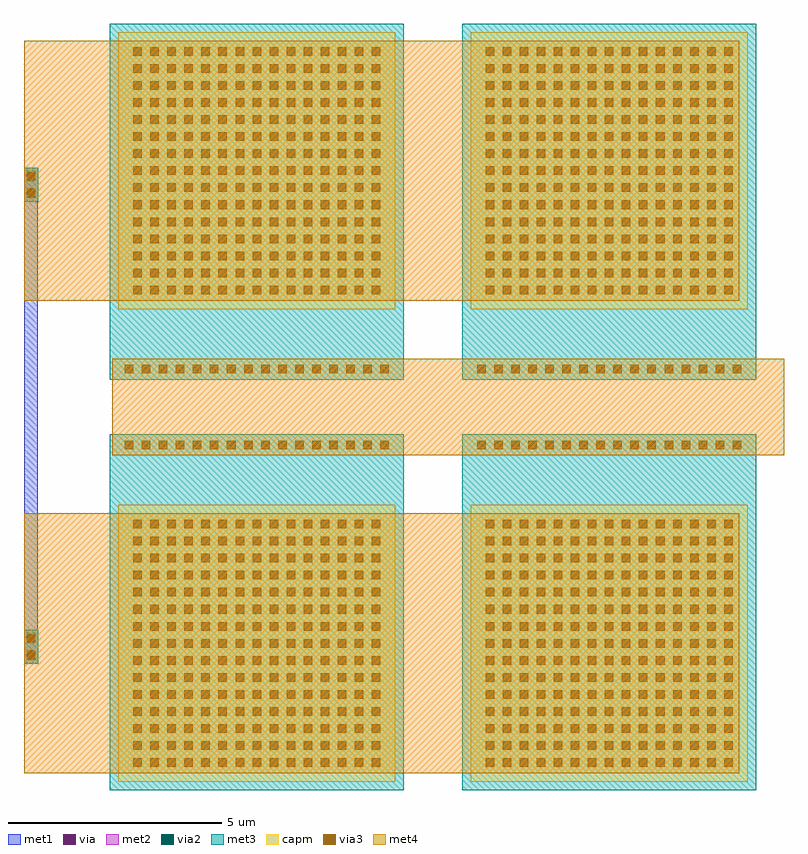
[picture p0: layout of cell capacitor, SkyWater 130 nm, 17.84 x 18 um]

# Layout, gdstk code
from math import pi, radians
import gdstk
lib = gdstk.Library(unit=1e-6, precision=1e-09)
def R(c, l, rs):  # rectangles x0, y0, x1, y1
    for r in rs: c.add(gdstk.rectangle(r[:2], r[2:], *l))
def A(c, l, x, y, w, h, nx, ny, dx, dy):  # array of equal rectangles
    R(c, l, [(x+i*dx, y+j*dy, x+i*dx+w, y+j*dy+h) for i in range(nx) for j in range(ny)])
met1 = (68, 20)
via = (68, 44)
met2 = (69, 20)
via2 = (69, 44)
met3 = (70, 20)
via3 = (70, 44)
met4 = (71, 20)
capm = (89, 44)

mim_cap = lib.new_cell('mim_cap')
R(mim_cap, met3, [(-0.2,-0.2,8.16,6.7)])
A(mim_cap, via3, 7.8, 0.15, 0.2, 0.2, 1, 16, 0, 0.4)
A(mim_cap, via3, 0.35, 0.35, 0.2, 0.2, 15, 15, 0.4, 0.4)
R(mim_cap, met4, [(7.66,-0.14,8.14,6.64), (0.195,0.195,6.305,6.305)])
R(mim_cap, capm, [(0,0,6.5,6.5)])

vias_gen_22 = lib.new_cell('vias_gen$22')
R(vias_gen_22, met1, [(0,0,0.8,0.33)])
R(vias_gen_22, via, [(0.165,0.09,0.315,0.24), (0.485,0.09,0.635,0.24)])
R(vias_gen_22, met2, [(0,0,0.8,0.33)])
R(vias_gen_22, via2, [(0.1,0.065,0.3,0.265), (0.5,0.065,0.7,0.265)])
R(vias_gen_22, met3, [(0,0,0.8,0.33)])
R(vias_gen_22, via3, [(0.1,0.065,0.3,0.265), (0.5,0.065,0.7,0.265)])
R(vias_gen_22, met4, [(0,0,0.8,0.33)])

capacitor = lib.new_cell('capacitor')
R(capacitor, met1, [(-10.335,0.725,-10.01,11.57)])
R(capacitor, met4, [(-10.335,-2.65,6.455,3.46), (-8.26,4.815,6.79,7.09), (6.79,4.815,7.505,7.09), (-10.335,8.445,6.455,14.555)])
capacitor.add(gdstk.Reference(mim_cap, (6.65,-2.845), rotation=pi/2))
capacitor.add(gdstk.Reference(mim_cap, (-1.62,-2.845), rotation=pi/2))
capacitor.add(gdstk.Reference(mim_cap, (6.65,14.75), rotation=3*pi/2, x_reflection=True))
capacitor.add(gdstk.Reference(mim_cap, (-1.62,14.75), rotation=3*pi/2, x_reflection=True))
capacitor.add(gdstk.Reference(vias_gen_22, (-10.005,10.77), rotation=pi/2))
capacitor.add(gdstk.Reference(vias_gen_22, (-10.005,-0.075), rotation=pi/2))

lib.write_gds('capacitor.gds')
